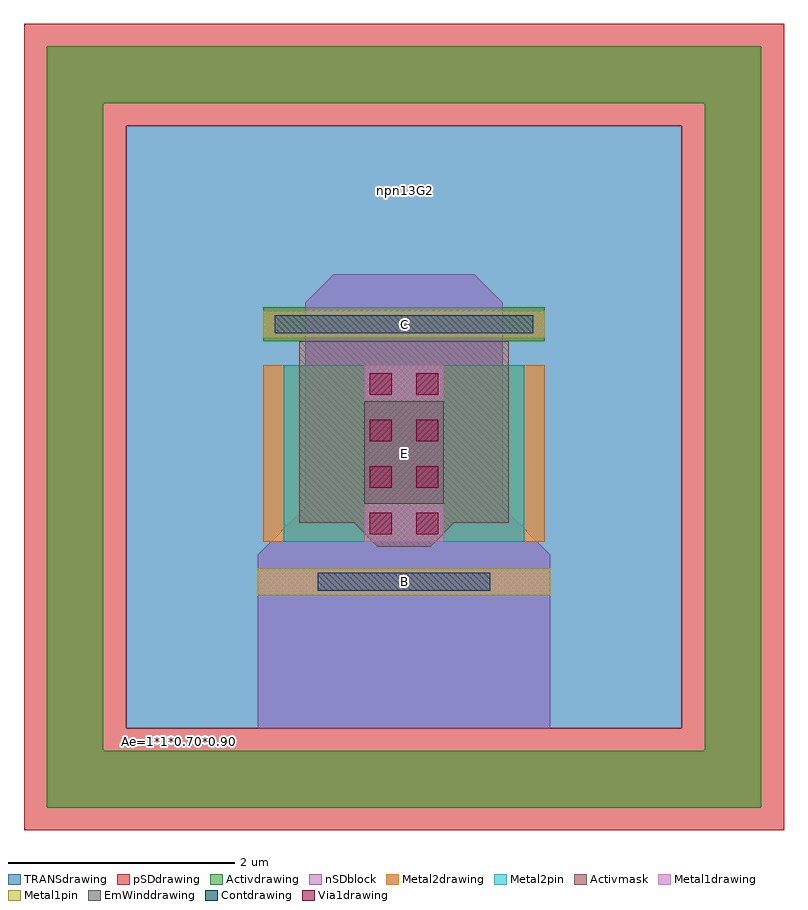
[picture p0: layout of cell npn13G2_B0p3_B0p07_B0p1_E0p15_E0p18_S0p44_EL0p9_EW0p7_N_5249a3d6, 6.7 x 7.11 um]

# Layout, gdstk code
import gdstk
lib = gdstk.Library(unit=1e-6, precision=1e-09)
def R(c, l, rs):  # rectangles x0, y0, x1, y1
    for r in rs: c.add(gdstk.rectangle(r[:2], r[2:], *l))
def P(c, l, *ps):  # polygons
    for p in ps: c.add(gdstk.Polygon(p, *l))
Activdrawing = (1, 0)
Activmask = (1, 20)
Contdrawing = (6, 0)
nSDblock = (7, 21)
Metal1drawing = (8, 0)
Metal1pin = (8, 2)
Metal2drawing = (10, 0)
Metal2pin = (10, 2)
pSDdrawing = (14, 0)
Via1drawing = (19, 0)
TRANSdrawing = (26, 0)
EmWinddrawing = (33, 0)

rectangle_gdsfactorypcom = lib.new_cell('rectangle_gdsfactorypcomponentspshapesprectangle_S0p19__c3060a3f')
R(rectangle_gdsfactorypcom, Via1drawing, [(0,0,0.19,0.19)])

c_rectangle_gdsfactorypcom = lib.new_cell('rectangle_gdsfactorypcomponentspshapesprectangle_S0p7_1_71895e14')
R(c_rectangle_gdsfactorypcom, Metal1drawing, [(0,0,0.7,1.556)])

c_rectangle_gdsfactorypcom_ = lib.new_cell('rectangle_gdsfactorypcomponentspshapesprectangle_S2p280_f50832cf')
R(c_rectangle_gdsfactorypcom_, Contdrawing, [(0,0,2.28,0.16)])

c_rectangle_gdsfactorypcom__ = lib.new_cell('rectangle_gdsfactorypcomponentspshapesprectangle_S1p52__7be19f5a')
R(c_rectangle_gdsfactorypcom__, Contdrawing, [(0,0,1.52,0.16)])

c_rectangle_gdsfactorypcom___ = lib.new_cell('rectangle_gdsfactorypcomponentspshapesprectangle_S0p7_0_f54352eb')
R(c_rectangle_gdsfactorypcom___, EmWinddrawing, [(0,0,0.7,0.9)])

c_rectangle_gdsfactorypcom____ = lib.new_cell('rectangle_gdsfactorypcomponentspshapesprectangle_S2p48__4539386c')
R(c_rectangle_gdsfactorypcom____, Activdrawing, [(0,0,2.48,0.3)])

c_rectangle_gdsfactorypcom_____ = lib.new_cell('rectangle_gdsfactorypcomponentspshapesprectangle_S2p48__05a47c96')
R(c_rectangle_gdsfactorypcom_____, Metal1drawing, [(0,0,2.48,0.24)])

c_rectangle_gdsfactorypcom______ = lib.new_cell('rectangle_gdsfactorypcomponentspshapesprectangle_S2p58__74da9277')
R(c_rectangle_gdsfactorypcom______, Metal1drawing, [(0,0,2.58,0.24)])

c_rectangle_gdsfactorypcom_______ = lib.new_cell('rectangle_gdsfactorypcomponentspshapesprectangle_S2p48__d5331a4a')
R(c_rectangle_gdsfactorypcom_______, Metal2drawing, [(0,0,2.48,1.556)])

c_rectangle_gdsfactorypcom________ = lib.new_cell('rectangle_gdsfactorypcomponentspshapesprectangle_S2p48__2edeaeb4')
R(c_rectangle_gdsfactorypcom________, Metal1pin, [(0,0,2.48,0.24)])

c_rectangle_gdsfactorypcom_________ = lib.new_cell('rectangle_gdsfactorypcomponentspshapesprectangle_S2p58__92940f01')
R(c_rectangle_gdsfactorypcom_________, Metal1pin, [(0,0,2.58,0.24)])

c_rectangle_gdsfactorypcom__________ = lib.new_cell('rectangle_gdsfactorypcomponentspshapesprectangle_S2p12__33d63534')
R(c_rectangle_gdsfactorypcom__________, Metal2pin, [(0,0,2.12,1.556)])

npn13g2_b0p3_b0p07_b0p1_ = lib.new_cell('npn13G2_B0p3_B0p07_B0p1_E0p15_E0p18_S0p44_EL0p9_EW0p7_N_5249a3d6')
P(npn13g2_b0p3_b0p07_b0p1_, Activdrawing, [(-3.15,-3.13),(-3.15,3.58),(2.65,3.58),(2.65,3.08),(-2.65,3.08),(-2.65,-2.63),(2.65,-2.63),(2.65,3.58),(3.15,3.58),(3.15,-3.13)])
P(npn13g2_b0p3_b0p07_b0p1_, Activmask, [(-0.235,-0.83),(-0.445,-0.62),(-0.925,-0.62),(-0.925,0.98),(0.925,0.98),(0.925,-0.62),(0.445,-0.62),(0.235,-0.83)])
P(npn13g2_b0p3_b0p07_b0p1_, nSDblock, [(-1.29,-2.43),(-1.29,-0.9),(-0.87,-0.48),(-0.87,1.32),(-0.62,1.57),(0.62,1.57),(0.87,1.32),(0.87,-0.48),(1.29,-0.9),(1.29,-2.43)])
P(npn13g2_b0p3_b0p07_b0p1_, pSDdrawing, [(-3.35,-3.33),(-3.35,3.78),(2.45,3.78),(2.45,2.88),(-2.45,2.88),(-2.45,-2.43),(2.45,-2.43),(2.45,3.78),(3.35,3.78),(3.35,-3.33)])
R(npn13g2_b0p3_b0p07_b0p1_, TRANSdrawing, [(-2.45,-2.43,2.45,2.88)])
npn13g2_b0p3_b0p07_b0p1_.add(gdstk.Reference(rectangle_gdsfactorypcom, (-0.3,0.51)))
npn13g2_b0p3_b0p07_b0p1_.add(gdstk.Reference(rectangle_gdsfactorypcom, (0.11,0.51)))
npn13g2_b0p3_b0p07_b0p1_.add(gdstk.Reference(rectangle_gdsfactorypcom, (-0.3,0.1)))
npn13g2_b0p3_b0p07_b0p1_.add(gdstk.Reference(rectangle_gdsfactorypcom, (0.11,0.1)))
npn13g2_b0p3_b0p07_b0p1_.add(gdstk.Reference(rectangle_gdsfactorypcom, (-0.3,-0.31)))
npn13g2_b0p3_b0p07_b0p1_.add(gdstk.Reference(rectangle_gdsfactorypcom, (0.11,-0.31)))
npn13g2_b0p3_b0p07_b0p1_.add(gdstk.Reference(rectangle_gdsfactorypcom, (-0.3,-0.72)))
npn13g2_b0p3_b0p07_b0p1_.add(gdstk.Reference(rectangle_gdsfactorypcom, (0.11,-0.72)))
npn13g2_b0p3_b0p07_b0p1_.add(gdstk.Reference(c_rectangle_gdsfactorypcom, (-0.35,-0.785)))
npn13g2_b0p3_b0p07_b0p1_.add(gdstk.Reference(c_rectangle_gdsfactorypcom_, (-1.14,1.05)))
npn13g2_b0p3_b0p07_b0p1_.add(gdstk.Reference(c_rectangle_gdsfactorypcom__, (-0.76,-1.22)))
npn13g2_b0p3_b0p07_b0p1_.add(gdstk.Reference(c_rectangle_gdsfactorypcom___, (-0.35,-0.45)))
npn13g2_b0p3_b0p07_b0p1_.add(gdstk.Reference(c_rectangle_gdsfactorypcom____, (-1.24,0.98)))
npn13g2_b0p3_b0p07_b0p1_.add(gdstk.Reference(c_rectangle_gdsfactorypcom_____, (-1.24,1.01)))
npn13g2_b0p3_b0p07_b0p1_.add(gdstk.Reference(c_rectangle_gdsfactorypcom______, (-1.29,-1.26)))
npn13g2_b0p3_b0p07_b0p1_.add(gdstk.Reference(c_rectangle_gdsfactorypcom_______, (-1.24,-0.785)))
npn13g2_b0p3_b0p07_b0p1_.add(gdstk.Reference(c_rectangle_gdsfactorypcom________, (-1.24,1.01)))
npn13g2_b0p3_b0p07_b0p1_.add(gdstk.Reference(c_rectangle_gdsfactorypcom_________, (-1.29,-1.26)))
npn13g2_b0p3_b0p07_b0p1_.add(gdstk.Reference(c_rectangle_gdsfactorypcom__________, (-1.06,-0.785)))
npn13g2_b0p3_b0p07_b0p1_.add(gdstk.Label('npn13G2', (0.015,2.31), layer=63, texttype=0))
npn13g2_b0p3_b0p07_b0p1_.add(gdstk.Label('C', (0,1.13), layer=63, texttype=0))
npn13g2_b0p3_b0p07_b0p1_.add(gdstk.Label('B', (0,-1.14), layer=63, texttype=0))
npn13g2_b0p3_b0p07_b0p1_.add(gdstk.Label('E', (0,-0.008), layer=63, texttype=0))
npn13g2_b0p3_b0p07_b0p1_.add(gdstk.Label('Ae=1*1*0.70*0.90', (-1.977,-2.546), layer=63, texttype=0))

lib.write_gds('npn13G2_B0p3_B0p07_B0p1_E0p15_E0p18_S0p44_EL0p9_EW0p7_N_5249a3d6.gds')
